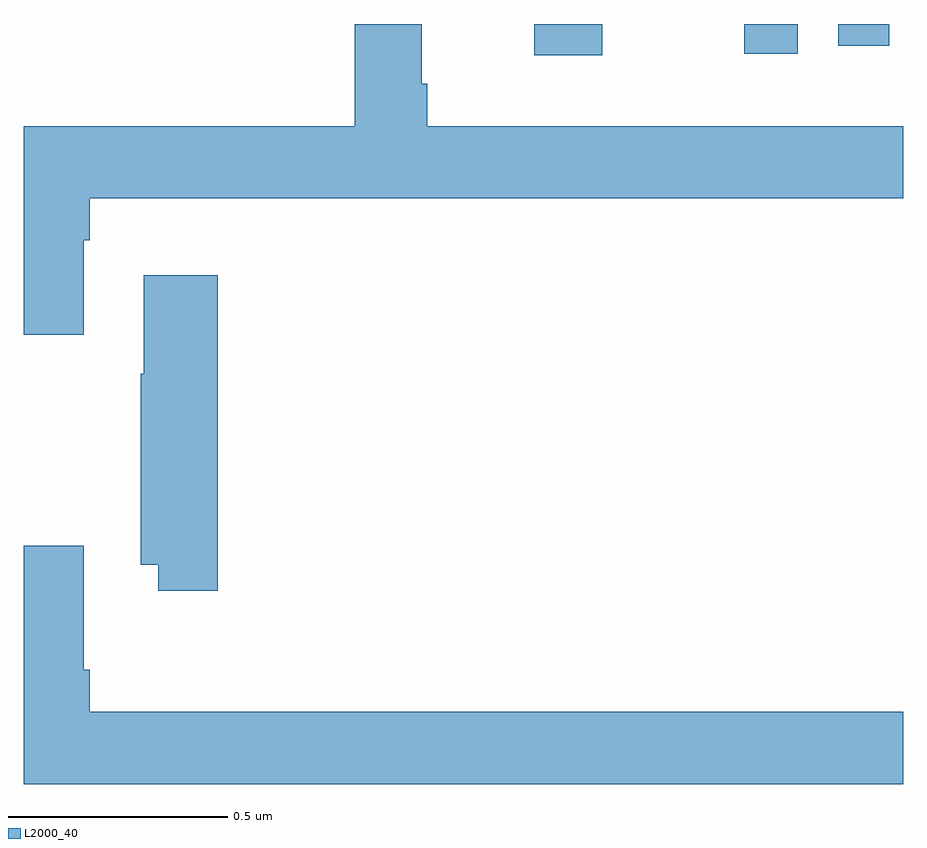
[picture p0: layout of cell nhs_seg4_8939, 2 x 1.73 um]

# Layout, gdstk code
import gdstk
lib = gdstk.Library(unit=1e-6, precision=1e-09)
def R(c, l, rs):  # rectangles x0, y0, x1, y1
    for r in rs: c.add(gdstk.rectangle(r[:2], r[2:], *l))
def P(c, l, *ps):  # polygons
    for p in ps: c.add(gdstk.Polygon(p, *l))
L2000_40 = (2000, 40)

nhs_seg4_8939 = lib.new_cell('nhs_seg4_8939')
R(nhs_seg4_8939, L2000_40, [(222.161,779.829,222.316,779.9), (222.638,779.832,222.76,779.9), (222.852,779.85,222.968,779.9)])
P(nhs_seg4_8939, L2000_40, [(221.137,779.408),(221.15,779.408),(221.15,779.504),(223,779.504),(223,779.668),(221.918,779.668),(221.918,779.764),(221.905,779.764),(221.905,779.9),(221.753,779.9),(221.753,779.668),(221,779.668),(221,779.193),(221.137,779.193)],
  [(221.441,779.329),(221.273,779.329),(221.273,779.105),(221.266,779.105),(221.266,778.67),(221.306,778.67),(221.306,778.611),(221.441,778.611)],
  [(223,778.336),(221.15,778.336),(221.15,778.432),(221.137,778.432),(221.137,778.714),(221,778.714),(221,778.172),(223,778.172)])

lib.write_gds('nhs_seg4_8939.gds')
